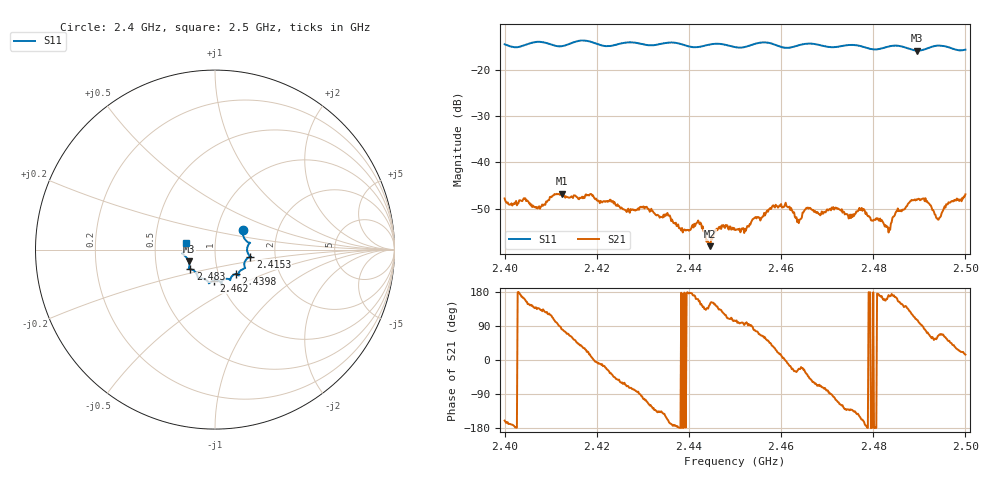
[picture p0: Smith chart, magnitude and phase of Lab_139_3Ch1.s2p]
# Hz S RI R 50
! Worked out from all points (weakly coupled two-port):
!   601 points, 2.4 GHz to 2.5 GHz, reference 50 ohm
!   highest |S21| = -46.78 dB at 2.4125 GHz (marker M1); lowest = -58.1 dB at 2.4445 GHz (marker M2)
!   lowest |S11| = -15.9 dB at 2.4895 GHz (marker M3), VSWR 1.38, Z = 37 - j5 ohm
!   |S11| at or under -10 dB: start of sweep to end of sweep
!   S12 and S22 are empty: the file has one direction only
!   S11 on the Smith chart (normalised r, x): 2.4 GHz: 1.33, +0.29; 2.4153 GHz: 1.48, -0.12; 2.4398 GHz: 1.21, -0.34; 2.462 GHz: 0.93, -0.33; 2.483 GHz: 0.74, -0.17; 2.5 GHz: 0.72, +0.06
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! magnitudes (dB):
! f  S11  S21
! 2.4 GHz  -14.5  -47.8
! 2.4073 GHz  -14.0  -49.7
! 2.4125 GHz  -14.9  -46.8
! 2.4153 GHz  -14.0  -47.2
! 2.4167 GHz  -13.7  -47.7
! 2.4333 GHz  -14.5  -51.4
! 2.4398 GHz  -15.0  -54.6
! 2.4422 GHz  -15.1  -52.9
! 2.4445 GHz  -14.6  -58.1
! 2.447 GHz  -14.5  -54.4
! 2.45 GHz  -15.1  -54.6
! 2.4585 GHz  -14.6  -49.6
! 2.462 GHz  -15.2  -50.3
! 2.464 GHz  -14.7  -52.5
! 2.4667 GHz  -14.4  -50.2
! 2.4775 GHz  -15.0  -49.8
! 2.483 GHz  -15.1  -53.8
! 2.4833 GHz  -15.0  -55.2
! 2.4852 GHz  -14.8  -50.5
! 2.4895 GHz  -15.9  -48.1
! 2.4942 GHz  -14.8  -52.4
! 2.5 GHz  -15.7  -46.9
